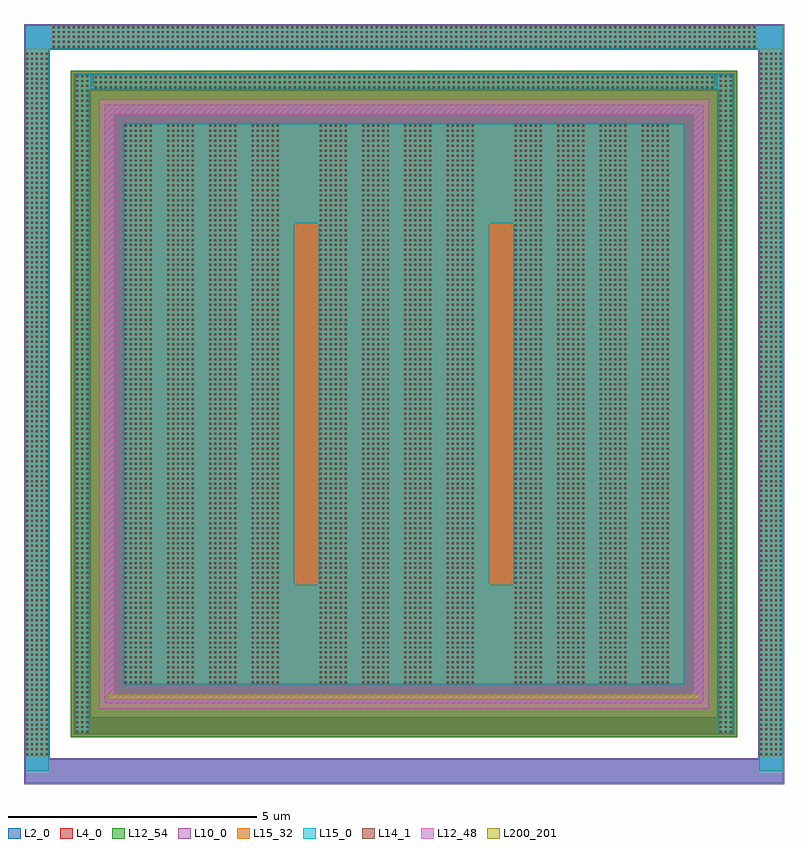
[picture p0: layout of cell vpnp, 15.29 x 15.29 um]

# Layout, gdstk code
import gdstk
lib = gdstk.Library(unit=1e-6, precision=1e-09)
def R(c, l, rs):  # rectangles x0, y0, x1, y1
    for r in rs: c.add(gdstk.rectangle(r[:2], r[2:], *l))
def A(c, l, x, y, w, h, nx, ny, dx, dy):  # array of equal rectangles
    R(c, l, [(x+i*dx, y+j*dy, x+i*dx+w, y+j*dy+h) for i in range(nx) for j in range(ny)])
L2_0 = (2, 0)
L4_0 = (4, 0)
L10_0 = (10, 0)
L12_48 = (12, 48)
L12_54 = (12, 54)
L14_1 = (14, 1)
L15_0 = (15, 0)
L15_32 = (15, 32)
L200_201 = (200, 201)

vpnp = lib.new_cell('vpnp')
R(vpnp, L2_0, [(-14.129,-6.159,1.123,-5.679), (-14.129,-5.679,-13.649,8.613), (0.643,-5.679,1.123,8.613), (-13.149,-5.179,0.143,-4.839), (-13.149,-4.839,-12.809,7.773), (-0.197,-4.839,0.143,7.773), (-12.453,-4.483,-0.553,7.417), (-13.149,7.773,0.143,8.113), (-14.129,8.613,1.123,9.093)])
R(vpnp, L4_0, [(-13.205,-5.235,0.199,8.169)])
R(vpnp, L10_0, [(-14.15,-6.18,1.144,-5.658), (-14.15,-5.658,-13.628,8.592), (0.622,-5.658,1.144,8.592), (-12.523,-4.553,-0.483,7.487), (-14.15,8.592,1.144,9.114)])
R(vpnp, L12_48, [(-12.634,-4.664,-0.372,-4.358), (-12.634,-4.358,-12.328,7.292), (-0.678,-4.358,-0.372,7.292), (-12.634,7.292,-0.372,7.598)])
R(vpnp, L12_54, [(-13.205,-5.235,0.199,8.169)])
A(vpnp, L14_1, -14.109, -5.603, 0.04, 0.04, 5, 142, 0.1, 0.1)
A(vpnp, L14_1, 0.663, -5.603, 0.04, 0.04, 5, 142, 0.1, 0.1)
A(vpnp, L14_1, -13.099, -5.153, 0.04, 0.04, 3, 133, 0.1, 0.1)
A(vpnp, L14_1, -0.147, -5.153, 0.04, 0.04, 3, 133, 0.1, 0.1)
A(vpnp, L14_1, -12.123, -4.153, 0.04, 0.04, 6, 113, 0.1, 0.1)
A(vpnp, L14_1, -11.271, -4.153, 0.04, 0.04, 6, 113, 0.1, 0.1)
A(vpnp, L14_1, -10.419, -4.153, 0.04, 0.04, 6, 113, 0.1, 0.1)
A(vpnp, L14_1, -9.567, -4.153, 0.04, 0.04, 6, 113, 0.1, 0.1)
A(vpnp, L14_1, -8.197, -4.153, 0.04, 0.04, 6, 113, 0.1, 0.1)
A(vpnp, L14_1, -7.345, -4.153, 0.04, 0.04, 6, 113, 0.1, 0.1)
A(vpnp, L14_1, -6.493, -4.153, 0.04, 0.04, 6, 113, 0.1, 0.1)
A(vpnp, L14_1, -5.641, -4.153, 0.04, 0.04, 6, 113, 0.1, 0.1)
A(vpnp, L14_1, -4.272, -4.153, 0.04, 0.04, 6, 113, 0.1, 0.1)
A(vpnp, L14_1, -3.42, -4.153, 0.04, 0.04, 6, 113, 0.1, 0.1)
A(vpnp, L14_1, -2.568, -4.153, 0.04, 0.04, 6, 113, 0.1, 0.1)
A(vpnp, L14_1, -1.716, -4.153, 0.04, 0.04, 6, 113, 0.1, 0.1)
A(vpnp, L14_1, -12.723, 7.823, 0.04, 0.04, 125, 3, 0.1, 0.1)
A(vpnp, L14_1, -13.573, 8.633, 0.04, 0.04, 142, 5, 0.1, 0.1)
R(vpnp, L15_0, [(-14.127,-5.919,-13.651,9.091), (0.645,-5.919,1.121,9.091), (-13.117,-5.171,-12.841,8.105), (-0.165,-5.171,0.111,8.105), (-12.141,-4.171,-0.865,-2.171), (-12.141,-2.171,-8.716,5.105), (-8.215,-2.171,-4.79,5.105), (-4.29,-2.171,-0.865,5.105), (-12.141,5.105,-0.865,7.105), (-12.841,7.805,-0.165,8.105), (-13.651,8.615,0.645,9.091)])
R(vpnp, L15_32, [(-14.127,-5.621,-13.651,8.615), (0.645,-5.621,1.121,8.615), (-13.117,-5.171,-12.841,8.105), (-0.165,-5.171,0.111,8.105), (-12.141,-4.171,-0.865,7.105), (-12.741,7.805,-0.265,8.081), (-13.591,8.615,0.585,9.091)])
R(vpnp, L200_201, [(-12.453,-4.483,-0.553,-4.383)])

lib.write_gds('vpnp.gds')
